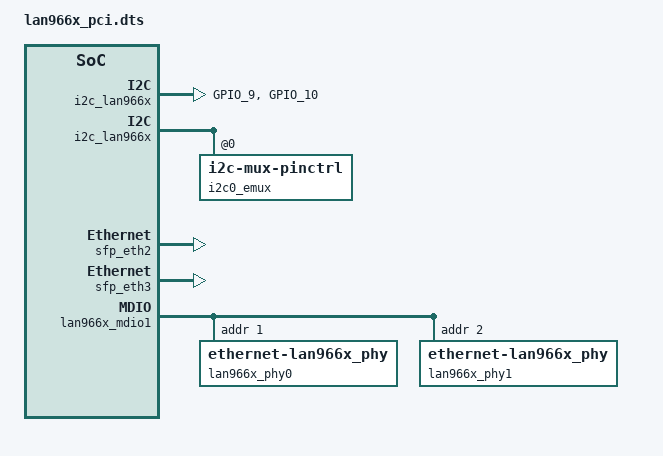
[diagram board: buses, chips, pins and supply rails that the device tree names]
// SPDX-License-Identifier: GPL-2.0
/*
 * Copyright (C) 2022 Microchip UNG
 */

#include <dt-bindings/clock/microchip,lan966x.h>
#include <dt-bindings/mfd/atmel-flexcom.h>
#include <dt-bindings/soc/mchp,lan966x_icpu.h>
#include <dt-bindings/phy/phy-lan966x-serdes.h>
#include <dt-bindings/gpio/gpio.h>

/dts-v1/;
/plugin/;

&{/pcidev} {
	compatible = "simple-bus";
	#address-cells = <1>;
	#size-cells = <1>;

	itc: itc {
		comaptible = <>;
		#interrupt-cells = <1>;
		interrupt-controller;
		interrupt-parent = <&itc>;
	};

	cpu_clk: cpu_clk {
		compatible = "fixed-clock";
		#clock-cells = <0>;
		clock-frequency = <600000000>;  // CPU clock = 600MHz
	};

	ddr_clk: ddr_clk {
		compatible = "fixed-clock";
		#clock-cells = <0>;
		clock-frequency = <30000000>;  // Fabric clock = 30MHz
	};

	sys_clk: sys_clk {
		compatible = "fixed-clock";
		#clock-cells = <0>;
		clock-frequency = <15625000>;  // System clock = 15.625MHz
	};

	clks: clock-controller@e00c00a8 {
		compatible = "microchip,lan966x-gck";
		#clock-cells = <1>;
		clocks = <&cpu_clk>, <&ddr_clk>, <&sys_clk>;
		reg = <CPU_GCK_REGS_ADDR CPU_GCK_REGS_SIZE>;
	};

	cpu_ctrl: syscon@e00c0000 {
		compatible = "microchip,lan966x-cpu-syscon", "syscon";
		reg = <CPU_ADDR CPU_SIZE>;
	};

	switch_reset: switch_reset@0 {
		compatible = "microchip,lan966x-switch-reset";
		#reset-cells = <1>;
		cpu-syscon = <&cpu_ctrl>;
		reg = <GCB_CHIP_REGS_SOFT_RST_ADDR GCB_CHIP_REGS_SOFT_RST_SIZE>;
	};

	lan966x_gpio: pinctrl@e2004070 {
		compatible = "microchip,lan966x-pinctrl";
		reg = <GCB_GPIO_ADDR GCB_GPIO_SIZE>,
			<CHIP_TOP_GPIO_CFG_ADDR CHIP_TOP_GPIO_CFG_SIZE>;
		gpio-controller;
		#gpio-cells = <2>;
		gpio-ranges = <&lan966x_gpio 0 0 78>;
		interrupt-parent = <&itc>;
		interrupt-controller;
		interrupts = <17>;
		#interrupt-cells = <1>;

		tod_pins: tod_pins {
			pins = "GPIO_36";
			function = "ptpsync_1";
		};

		fc0_a_pins: fcb4-i2c-pins {
			/* RXD, TXD */
			pins = "GPIO_9", "GPIO_10";
			function = "fc0_a";
		};

		i2cmux_pins: i2cmux-pins {
			pins = "GPIO_76", "GPIO_77";
			function = "twi_slc_gate";
			output-low;
		};

		i2cmux_0: i2cmux-0 {
			pins = "GPIO_76";
			function = "twi_slc_gate";
			output-high;
		};

		i2cmux_1: i2cmux-1 {
			pins = "GPIO_77";
			function = "twi_slc_gate";
			output-high;
		};
	};

	flx0: flexcom@e0070000 {
		compatible = "atmel,sama5d2-flexcom";
		reg = <FLEXCOM_0_FLEXCOM_REG_ADDR FLEXCOM_0_FLEXCOM_REG_SIZE>;
		clocks = <&ddr_clk>;
		#address-cells = <1>;
		#size-cells = <1>;
		ranges = <0x0 FLEXCOM_0_FLEXCOM_REG_ADDR 0x800>;

		atmel,flexcom-mode = <ATMEL_FLEXCOM_MODE_TWI>;

		i2c_lan966x: i2c@600 {
			compatible = "microchip,lan966x-i2c";
			reg = <0x600 0x200>;
			interrupt-parent = <&itc>;
			interrupts = <48>;
			#address-cells = <1>;
			#size-cells = <0>;
			clocks = <&clks GCK_ID_FLEXCOM0>;
			assigned-clocks = <&clks GCK_ID_FLEXCOM0>;
			assigned-clock-rates = <20000000>;
			pinctrl-0 = <&fc0_a_pins>;
			pinctrl-names = "default";
			i2c-analog-filter;
			i2c-digital-filter;
			i2c-digital-filter-width-ns = <35>;
		};
	};

	i2c0_emux: i2c0-emux@0 {
		compatible = "i2c-mux-pinctrl";
		#address-cells = <1>;
		#size-cells = <0>;
		i2c-parent = <&i2c_lan966x>;
		pinctrl-names = "i2c102", "i2c103", "idle";
		pinctrl-0 = <&i2cmux_0>;
		pinctrl-1 = <&i2cmux_1>;
		pinctrl-2 = <&i2cmux_pins>;

		i2c102: i2c_sfp1 {
			reg = <0>;
			#address-cells = <1>;
			#size-cells = <0>;
		};

		i2c103: i2c_sfp2 {
			reg = <1>;
			#address-cells = <1>;
			#size-cells = <0>;
		};
	};

	sfp_eth2: sfp-eth2 {
		compatible       = "sff,sfp";
		i2c-bus          = <&i2c102>;
		tx-disable-gpios = <&lan966x_gpio  0 GPIO_ACTIVE_HIGH>;
		los-gpios        = <&lan966x_gpio 25 GPIO_ACTIVE_HIGH>;
		mod-def0-gpios   = <&lan966x_gpio 18 GPIO_ACTIVE_LOW>;
		tx-fault-gpios   = <&lan966x_gpio  2 GPIO_ACTIVE_HIGH>;
	};

	sfp_eth3: sfp-eth3 {
		compatible       = "sff,sfp";
		i2c-bus          = <&i2c103>;
		tx-disable-gpios = <&lan966x_gpio  1 GPIO_ACTIVE_HIGH>;
		los-gpios        = <&lan966x_gpio 26 GPIO_ACTIVE_HIGH>;
		mod-def0-gpios   = <&lan966x_gpio 19 GPIO_ACTIVE_LOW>;
		tx-fault-gpios   = <&lan966x_gpio  3 GPIO_ACTIVE_HIGH>;
	};

	serdes: serdes {
		compatible = "microchip,lan966x-serdes";
		reg = <HSIO_ADDR HSIO_SIZE>, <0xe2004010 0x4>;
		#phy-cells = <2>;
	};

	phy_reset: phy-reset@e2010010 {
		compatible = "microchip,lan966x-phy-reset";
		reg = <CHIP_TOP_CUPHY_CFG_ADDR CHIP_TOP_CUPHY_CFG_SIZE>;
		reg-names = "phy";
		#reset-cells = <1>;
	};

	lan966x_mdio1: mdio@413c {
		#address-cells = <1>;
		#size-cells = <0>;
		compatible = "microchip,lan966x-miim";
		reg = <GCB_MIIM_1_ADDR GCB_MIIM_1_SIZE>;

		resets = <&phy_reset 0>;
		reset-names = "phy";

		lan966x_phy0: ethernet-lan966x_phy@0 {
			reg = <1>;
		};

		lan966x_phy1: ethernet-lan966x_phy@1 {
			reg = <2>;
		};
	};

	lan966x_switch: switch@0 {
		compatible = "microchip,lan966x-switch";
		reg = <0xe0000000 0xFFFFFF>,
			<0xe2000000 0x1FFFFFF>;
		reg-names = "cpu", "gcb";

		interrupt-parent = <&itc>;
		interrupts = <12 9>;
		interrupt-names = "xtr", "ana";

		resets = <&switch_reset 0>, <&phy_reset 0>;
		reset-names = "switch", "phy";

		pinctrl-names = "default";
		pinctrl-0 = <&tod_pins>;

		ethernet-ports {
			#address-cells = <1>;
			#size-cells = <0>;

			port0: port@0 {
				phy-handle = <&lan966x_phy0>;

				reg = <0>;
				phy-mode = "gmii";
				phys = <&serdes 0 CU(0)>;
			};

			port1: port@1 {
				phy-handle = <&lan966x_phy1>;

				reg = <1>;
				phy-mode = "gmii";
				phys = <&serdes 1 CU(1)>;
			};

			port2: port@2 {
				reg = <2>;
				phy-mode = "sgmii";
				phys = <&serdes 2 SERDES6G(0)>;
				sfp = <&sfp_eth2>;
				managed = "in-band-status";
			};

			port3: port@3 {
				reg = <3>;
				phy-mode = "sgmii";
				phys = <&serdes 3 SERDES6G(1)>;
				sfp = <&sfp_eth3>;
				managed = "in-band-status";
			};
		};
	};
};
